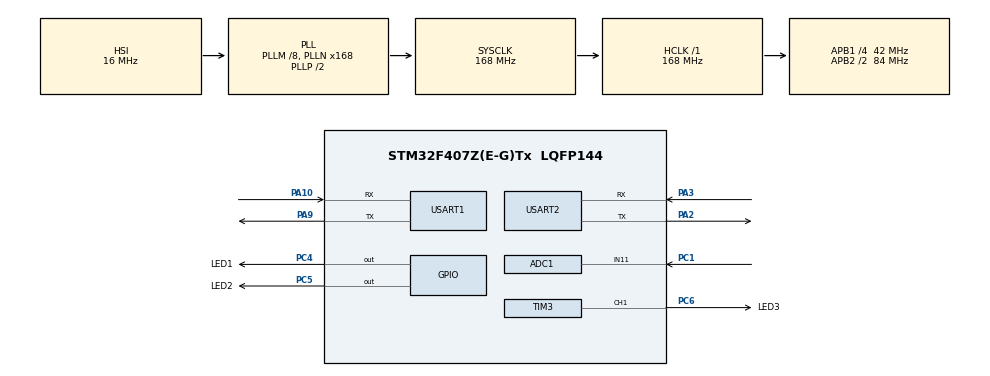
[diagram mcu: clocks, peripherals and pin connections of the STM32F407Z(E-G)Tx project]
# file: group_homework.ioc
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ADC1.Channel-1\#ChannelRegularConversion=ADC_CHANNEL_11
ADC1.NbrOfConversionFlag=1
ADC1.Rank-1\#ChannelRegularConversion=1
ADC1.SamplingTime-1\#ChannelRegularConversion=ADC_SAMPLETIME_3CYCLES
ADC1.ScanConvMode=DISABLE
ADC1.master=1
Dma.ADC1.4.Direction=DMA_PERIPH_TO_MEMORY
Dma.ADC1.4.FIFOMode=DMA_FIFOMODE_DISABLE
Dma.ADC1.4.Instance=DMA2_Stream4
Dma.ADC1.4.MemDataAlignment=DMA_MDATAALIGN_WORD
Dma.ADC1.4.MemInc=DMA_MINC_DISABLE
Dma.ADC1.4.Mode=DMA_NORMAL
Dma.ADC1.4.PeriphDataAlignment=DMA_PDATAALIGN_WORD
Dma.ADC1.4.PeriphInc=DMA_PINC_DISABLE
Dma.ADC1.4.Priority=DMA_PRIORITY_LOW
Dma.Request0=USART1_TX
Dma.Request1=USART1_RX
Dma.Request2=USART2_RX
Dma.Request3=USART2_TX
Dma.Request4=ADC1
Dma.USART1_RX.1.Direction=DMA_PERIPH_TO_MEMORY
Dma.USART1_RX.1.FIFOMode=DMA_FIFOMODE_DISABLE
Dma.USART1_RX.1.Instance=DMA2_Stream2
Dma.USART1_RX.1.MemDataAlignment=DMA_MDATAALIGN_BYTE
Dma.USART1_RX.1.MemInc=DMA_MINC_ENABLE
Dma.USART1_RX.1.Mode=DMA_NORMAL
Dma.USART1_RX.1.PeriphDataAlignment=DMA_PDATAALIGN_BYTE
Dma.USART1_RX.1.PeriphInc=DMA_PINC_DISABLE
Dma.USART1_RX.1.Priority=DMA_PRIORITY_LOW
Dma.USART1_TX.0.Direction=DMA_MEMORY_TO_PERIPH
Dma.USART1_TX.0.FIFOMode=DMA_FIFOMODE_DISABLE
Dma.USART1_TX.0.Instance=DMA2_Stream7
Dma.USART1_TX.0.MemDataAlignment=DMA_MDATAALIGN_BYTE
Dma.USART1_TX.0.MemInc=DMA_MINC_ENABLE
Dma.USART1_TX.0.Mode=DMA_NORMAL
Dma.USART1_TX.0.PeriphDataAlignment=DMA_PDATAALIGN_BYTE
Dma.USART1_TX.0.PeriphInc=DMA_PINC_DISABLE
Dma.USART1_TX.0.Priority=DMA_PRIORITY_LOW
Dma.USART2_RX.2.Direction=DMA_PERIPH_TO_MEMORY
Dma.USART2_RX.2.FIFOMode=DMA_FIFOMODE_DISABLE
Dma.USART2_RX.2.Instance=DMA1_Stream5
Dma.USART2_RX.2.MemDataAlignment=DMA_MDATAALIGN_BYTE
Dma.USART2_RX.2.MemInc=DMA_MINC_ENABLE
Dma.USART2_RX.2.Mode=DMA_NORMAL
Dma.USART2_RX.2.PeriphDataAlignment=DMA_PDATAALIGN_BYTE
Dma.USART2_RX.2.PeriphInc=DMA_PINC_DISABLE
Dma.USART2_RX.2.Priority=DMA_PRIORITY_LOW
Dma.USART2_TX.3.Direction=DMA_MEMORY_TO_PERIPH
Dma.USART2_TX.3.FIFOMode=DMA_FIFOMODE_DISABLE
Dma.USART2_TX.3.Instance=DMA1_Stream6
Dma.USART2_TX.3.MemDataAlignment=DMA_MDATAALIGN_BYTE
Dma.USART2_TX.3.MemInc=DMA_MINC_ENABLE
Dma.USART2_TX.3.Mode=DMA_NORMAL
Dma.USART2_TX.3.PeriphDataAlignment=DMA_PDATAALIGN_BYTE
Dma.USART2_TX.3.PeriphInc=DMA_PINC_DISABLE
Dma.USART2_TX.3.Priority=DMA_PRIORITY_LOW
Mcu.Family=STM32F4
Mcu.Name=STM32F407Z(E-G)Tx
Mcu.Package=LQFP144
NVIC.DMA1_Stream5_IRQn=true\:0\:0\:false\:false\:true\:false\:true\:true
NVIC.DMA1_Stream6_IRQn=true\:0\:0\:false\:false\:true\:false\:true\:true
NVIC.DMA2_Stream2_IRQn=true\:0\:0\:false\:false\:true\:false\:true\:true
NVIC.DMA2_Stream4_IRQn=true\:0\:0\:false\:false\:true\:false\:true\:true
NVIC.DMA2_Stream7_IRQn=true\:0\:0\:false\:false\:true\:false\:true\:true
NVIC.PriorityGroup=NVIC_PRIORITYGROUP_4
NVIC.USART1_IRQn=true\:0\:0\:false\:false\:true\:true\:true\:true
NVIC.USART2_IRQn=true\:0\:0\:false\:false\:true\:true\:true\:true
PA10.Mode=Asynchronous
PA10.Signal=USART1_RX
PA13.Mode=Serial_Wire
PA13.Signal=SYS_JTMS-SWDIO
PA14.Mode=Serial_Wire
PA14.Signal=SYS_JTCK-SWCLK
PA2.Mode=Asynchronous
PA2.Signal=USART2_TX
PA3.Mode=Asynchronous
PA3.Signal=USART2_RX
PA9.Mode=Asynchronous
PA9.Signal=USART1_TX
PC1.Signal=ADCx_IN11
PC4.GPIO_Label=LED1
PC4.Signal=GPIO_Output
PC5.GPIO_Label=LED2
PC5.Signal=GPIO_Output
PC6.GPIO_Label=LED3
PC6.Signal=S_TIM3_CH1
PH0-OSC_IN.Mode=HSE-External-Oscillator
PH0-OSC_IN.Signal=RCC_OSC_IN
PH1-OSC_OUT.Mode=HSE-External-Oscillator
PH1-OSC_OUT.Signal=RCC_OSC_OUT
ProjectManager.HeapSize=0x200
ProjectManager.StackSize=0x400
ProjectManager.TargetToolchain=MDK-ARM V5.32
RCC.48MHZClocksFreq_Value=84000000
RCC.AHBFreq_Value=168000000
RCC.APB1CLKDivider=RCC_HCLK_DIV4
RCC.APB1Freq_Value=42000000
RCC.APB1TimFreq_Value=84000000
RCC.APB2CLKDivider=RCC_HCLK_DIV2
RCC.APB2Freq_Value=84000000
RCC.APB2TimFreq_Value=168000000
RCC.CortexFreq_Value=168000000
RCC.HCLKFreq_Value=168000000
RCC.HSE_VALUE=25000000
RCC.HSI_VALUE=16000000
RCC.LSE_VALUE=32768
RCC.PLLM=8
RCC.PLLN=168
RCC.SYSCLKFreq_VALUE=168000000
RCC.SYSCLKSource=RCC_SYSCLKSOURCE_PLLCLK
RCC.VCOOutputFreq_Value=336000000
SH.ADCx_IN11.0=ADC1_IN11,IN11
SH.S_TIM3_CH1.0=TIM3_CH1,PWM Generation1 CH1
TIM3.AutoReloadPreload=TIM_AUTORELOAD_PRELOAD_ENABLE
TIM3.Channel-PWM\ Generation1\ CH1=TIM_CHANNEL_1
TIM3.Period=100-1
TIM3.Prescaler=84-1
TIM3.Pulse-PWM\ Generation1\ CH1=50
TIM4.AutoReloadPreload=TIM_AUTORELOAD_PRELOAD_ENABLE
TIM4.Period=10000-1
TIM4.Prescaler=8400-1
USART1.VirtualMode=VM_ASYNC
USART2.VirtualMode=VM_ASYNC
VP_TIM3_VS_ClockSourceINT.Mode=Internal
VP_TIM4_VS_ClockSourceINT.Mode=Internal
board=custom

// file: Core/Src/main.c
/* USER CODE BEGIN Header */
/**
  ******************************************************************************
  * @file           : main.c
  * @brief          : Main program body
  ******************************************************************************
  * @attention
  *
  * Copyright (c) 2025 STMicroelectronics.
  * All rights reserved.
  *
  * This software is licensed under terms that can be found in the LICENSE file
  * in the root directory of this software component.
  * If no LICENSE file comes with this software, it is provided AS-IS.
  *
  ******************************************************************************
  */
/* USER CODE END Header */
#include "main.h"

/* USER CODE BEGIN Includes */
#include<stdio.h>
#include<string.h>
#include<stdlib.h>
/* USER CODE END Includes */

ADC_HandleTypeDef hadc1;
DMA_HandleTypeDef hdma_adc1;

TIM_HandleTypeDef htim3;
TIM_HandleTypeDef htim4;

UART_HandleTypeDef huart1;
UART_HandleTypeDef huart2;
DMA_HandleTypeDef hdma_usart1_tx;
DMA_HandleTypeDef hdma_usart1_rx;
DMA_HandleTypeDef hdma_usart2_rx;
DMA_HandleTypeDef hdma_usart2_tx;

/* USER CODE BEGIN PV */
enum spectrum{on,off,blink,breath};
enum spectrum light_mode = off;
char command[25];
float frequency_blink;
float frequency_breath;
double brightness=128.00;
int frequency_adc;
char output_adc[20];
uint32_t values_adc;
/* USER CODE END PV */

void SystemClock_Config(void);
static void MX_GPIO_Init(void);
static void MX_DMA_Init(void);
static void MX_USART1_UART_Init(void);
static void MX_USART2_UART_Init(void);
static void MX_TIM3_Init(void);
static void MX_ADC1_Init(void);
static void MX_TIM4_Init(void);
/* USER CODE BEGIN PFP */
void light_on(double x);
void light_off();
void light_blink(float x);
void light_breath(float x);
/* USER CODE END PFP */

/* USER CODE BEGIN 0 */
void HAL_UARTEx_RxEventCallback(UART_HandleTypeDef *huart, uint16_t Size){
	if(huart==&huart2){
		HAL_UART_Transmit_IT(&huart2,(uint8_t*)command,Size);
		if(strncmp(command,"set_mode",8)==0){
			if(strncmp(command,"set_mode on",11)==0){
			light_mode = on;
			}
			else if(strncmp(command,"set_mode off",12)==0){
			light_mode = off;
			}
			else if(strncmp(command,"set_mode blink",14)==0){
				char fre_bl[4]="aaaa";
				for(int i=0;command[i+15]!='\0';i++){
					fre_bl[i]=command[i+15];
				}
				frequency_blink=atof(fre_bl);
				for(int i=0;i<4;i++){
				fre_bl[i]='a';
				}
				light_mode = blink;
			}
			else if(strncmp(command,"set_mode breathe",16)==0){
				char fre[4]="aaaa";
				for(int i=0;command[i+17]!='\0';i++){
					fre[i]=command[i+17];
				}
				frequency_breath=atof(fre);
				for(int i=0;i<4;i++){
				fre[i]='a';
				}
				light_mode = breath;
			}
		}
		else if(strncmp(command,"set_brightness",14)==0){
			char bri[5]="aaaaa";
				for(int i=0;command[i+15]!='\0';i++){
					bri[i]=command[i+15];
				}
				brightness=atof(bri);
				for(int i=0;i<5;i++){
				bri[i]='a';
				}
		}
		HAL_UARTEx_ReceiveToIdle_IT(&huart2,(uint8_t*)command,sizeof(command));
	}
}

void HAL_TIM_PeriodElapsedCallback(TIM_HandleTypeDef *htim){
	if(htim==&htim4){
		sprintf(output_adc,	"Frequency: %d",frequency_adc);
		HAL_UART_Transmit_IT(&huart1,(uint8_t*)output_adc,strlen(output_adc));
		frequency_adc=0;
	}
}
void HAL_ADC_ConvCpltCallback(ADC_HandleTypeDef *hadc){
	if(hadc==&hadc1){
		if (values_adc>2048)
				frequency_adc++;
	}
}
/* USER CODE END 0 */

int main(void)
{

  /* MCU Configuration--------------------------------------------------------*/

  /* Reset of all peripherals, Initializes the Flash interface and the Systick. */
  HAL_Init();

  /* Configure the system clock */
  SystemClock_Config();

  /* Initialize all configured peripherals */
  MX_GPIO_Init();
  MX_DMA_Init();
  MX_USART1_UART_Init();
  MX_USART2_UART_Init();
  MX_TIM3_Init();
  MX_ADC1_Init();
  MX_TIM4_Init();
  /* USER CODE BEGIN 2 */
	HAL_TIM_PWM_Start(&htim3,TIM_CHANNEL_1);
	HAL_UARTEx_ReceiveToIdle_IT(&huart2,(uint8_t*)command,sizeof(command));
	__HAL_DMA_DISABLE_IT(&hdma_usart2_rx,DMA_IT_HT);
	HAL_TIM_Base_Start_IT(&htim4);
	//HAL_ADCEx_Calibration_Start(&hadc1);

  /* USER CODE END 2 */

  /* Infinite loop */
  /* USER CODE BEGIN WHILE */
  while (1)
  {
		HAL_ADC_Start_DMA(&hadc1,&values_adc,sizeof(values_adc)/sizeof(uint32_t));
		switch(light_mode){
			case on:
				light_on(brightness);
				break;
			case off:
				light_off();
				break;
			case blink:
				light_blink(frequency_blink);
				break;
			case breath:
				light_breath(frequency_breath);
				break;
		}
    /* USER CODE END WHILE */

  }
}

void SystemClock_Config(void)
{
  RCC_OscInitTypeDef RCC_OscInitStruct = {0};
  RCC_ClkInitTypeDef RCC_ClkInitStruct = {0};

  /** Configure the main internal regulator output voltage
  */
  __HAL_RCC_PWR_CLK_ENABLE();
  __HAL_PWR_VOLTAGESCALING_CONFIG(PWR_REGULATOR_VOLTAGE_SCALE1);

  /** Initializes the RCC Oscillators according to the specified parameters
  * in the RCC_OscInitTypeDef structure.
  */
  RCC_OscInitStruct.OscillatorType = RCC_OSCILLATORTYPE_HSI;
  RCC_OscInitStruct.HSIState = RCC_HSI_ON;
  RCC_OscInitStruct.HSICalibrationValue = RCC_HSICALIBRATION_DEFAULT;
  RCC_OscInitStruct.PLL.PLLState = RCC_PLL_ON;
  RCC_OscInitStruct.PLL.PLLSource = RCC_PLLSOURCE_HSI;
  RCC_OscInitStruct.PLL.PLLM = 8;
  RCC_OscInitStruct.PLL.PLLN = 168;
  RCC_OscInitStruct.PLL.PLLP = RCC_PLLP_DIV2;
  RCC_OscInitStruct.PLL.PLLQ = 4;
  if (HAL_RCC_OscConfig(&RCC_OscInitStruct) != HAL_OK)
  {
    Error_Handler();
  }

  /** Initializes the CPU, AHB and APB buses clocks
  */
  RCC_ClkInitStruct.ClockType = RCC_CLOCKTYPE_HCLK|RCC_CLOCKTYPE_SYSCLK
                              |RCC_CLOCKTYPE_PCLK1|RCC_CLOCKTYPE_PCLK2;
  RCC_ClkInitStruct.SYSCLKSource = RCC_SYSCLKSOURCE_PLLCLK;
  RCC_ClkInitStruct.AHBCLKDivider = RCC_SYSCLK_DIV1;
  RCC_ClkInitStruct.APB1CLKDivider = RCC_HCLK_DIV4;
  RCC_ClkInitStruct.APB2CLKDivider = RCC_HCLK_DIV2;

  if (HAL_RCC_ClockConfig(&RCC_ClkInitStruct, FLASH_LATENCY_5) != HAL_OK)
  {
    Error_Handler();
  }
}

static void MX_ADC1_Init(void)
{

  ADC_ChannelConfTypeDef sConfig = {0};

  /** Configure the global features of the ADC (Clock, Resolution, Data Alignment and number of conversion)
  */
  hadc1.Instance = ADC1;
  hadc1.Init.ClockPrescaler = ADC_CLOCK_SYNC_PCLK_DIV4;
  hadc1.Init.Resolution = ADC_RESOLUTION_12B;
  hadc1.Init.ScanConvMode = DISABLE;
  hadc1.Init.ContinuousConvMode = DISABLE;
  hadc1.Init.DiscontinuousConvMode = DISABLE;
  hadc1.Init.ExternalTrigConvEdge = ADC_EXTERNALTRIGCONVEDGE_NONE;
  hadc1.Init.ExternalTrigConv = ADC_SOFTWARE_START;
  hadc1.Init.DataAlign = ADC_DATAALIGN_RIGHT;
  hadc1.Init.NbrOfConversion = 1;
  hadc1.Init.DMAContinuousRequests = DISABLE;
  hadc1.Init.EOCSelection = ADC_EOC_SINGLE_CONV;
  if (HAL_ADC_Init(&hadc1) != HAL_OK)
  {
    Error_Handler();
  }

  /** Configure for the selected ADC regular channel its corresponding rank in the sequencer and its sample time.
  */
  sConfig.Channel = ADC_CHANNEL_11;
  sConfig.Rank = 1;
  sConfig.SamplingTime = ADC_SAMPLETIME_3CYCLES;
  if (HAL_ADC_ConfigChannel(&hadc1, &sConfig) != HAL_OK)
  {
    Error_Handler();
  }

}

static void MX_TIM3_Init(void)
{

  TIM_ClockConfigTypeDef sClockSourceConfig = {0};
  TIM_MasterConfigTypeDef sMasterConfig = {0};
  TIM_OC_InitTypeDef sConfigOC = {0};

  htim3.Instance = TIM3;
  htim3.Init.Prescaler = 84-1;
  htim3.Init.CounterMode = TIM_COUNTERMODE_UP;
  htim3.Init.Period = 100-1;
  htim3.Init.ClockDivision = TIM_CLOCKDIVISION_DIV1;
  htim3.Init.AutoReloadPreload = TIM_AUTORELOAD_PRELOAD_ENABLE;
  if (HAL_TIM_Base_Init(&htim3) != HAL_OK)
  {
    Error_Handler();
  }
  sClockSourceConfig.ClockSource = TIM_CLOCKSOURCE_INTERNAL;
  if (HAL_TIM_ConfigClockSource(&htim3, &sClockSourceConfig) != HAL_OK)
  {
    Error_Handler();
  }
  if (HAL_TIM_PWM_Init(&htim3) != HAL_OK)
  {
    Error_Handler();
  }
  sMasterConfig.MasterOutputTrigger = TIM_TRGO_RESET;
  sMasterConfig.MasterSlaveMode = TIM_MASTERSLAVEMODE_DISABLE;
  if (HAL_TIMEx_MasterConfigSynchronization(&htim3, &sMasterConfig) != HAL_OK)
  {
    Error_Handler();
  }
  sConfigOC.OCMode = TIM_OCMODE_PWM1;
  sConfigOC.Pulse = 50;
  sConfigOC.OCPolarity = TIM_OCPOLARITY_HIGH;
  sConfigOC.OCFastMode = TIM_OCFAST_DISABLE;
  if (HAL_TIM_PWM_ConfigChannel(&htim3, &sConfigOC, TIM_CHANNEL_1) != HAL_OK)
  {
    Error_Handler();
  }
  HAL_TIM_MspPostInit(&htim3);

}

static void MX_TIM4_Init(void)
{

  TIM_ClockConfigTypeDef sClockSourceConfig = {0};
  TIM_MasterConfigTypeDef sMasterConfig = {0};

  htim4.Instance = TIM4;
  htim4.Init.Prescaler = 8400-1;
  htim4.Init.CounterMode = TIM_COUNTERMODE_UP;
  htim4.Init.Period = 10000-1;
  htim4.Init.ClockDivision = TIM_CLOCKDIVISION_DIV1;
  htim4.Init.AutoReloadPreload = TIM_AUTORELOAD_PRELOAD_ENABLE;
  if (HAL_TIM_Base_Init(&htim4) != HAL_OK)
  {
    Error_Handler();
  }
  sClockSourceConfig.ClockSource = TIM_CLOCKSOURCE_INTERNAL;
  if (HAL_TIM_ConfigClockSource(&htim4, &sClockSourceConfig) != HAL_OK)
  {
    Error_Handler();
  }
  sMasterConfig.MasterOutputTrigger = TIM_TRGO_RESET;
  sMasterConfig.MasterSlaveMode = TIM_MASTERSLAVEMODE_DISABLE;
  if (HAL_TIMEx_MasterConfigSynchronization(&htim4, &sMasterConfig) != HAL_OK)
  {
    Error_Handler();
  }

}

static void MX_USART1_UART_Init(void)
{

  huart1.Instance = USART1;
  huart1.Init.BaudRate = 115200;
  huart1.Init.WordLength = UART_WORDLENGTH_8B;
  huart1.Init.StopBits = UART_STOPBITS_1;
  huart1.Init.Parity = UART_PARITY_NONE;
  huart1.Init.Mode = UART_MODE_TX_RX;
  huart1.Init.HwFlowCtl = UART_HWCONTROL_NONE;
  huart1.Init.OverSampling = UART_OVERSAMPLING_16;
  if (HAL_UART_Init(&huart1) != HAL_OK)
  {
    Error_Handler();
  }

}

static void MX_USART2_UART_Init(void)
{

  huart2.Instance = USART2;
  huart2.Init.BaudRate = 115200;
  huart2.Init.WordLength = UART_WORDLENGTH_8B;
  huart2.Init.StopBits = UART_STOPBITS_1;
  huart2.Init.Parity = UART_PARITY_NONE;
  huart2.Init.Mode = UART_MODE_TX_RX;
  huart2.Init.HwFlowCtl = UART_HWCONTROL_NONE;
  huart2.Init.OverSampling = UART_OVERSAMPLING_16;
  if (HAL_UART_Init(&huart2) != HAL_OK)
  {
    Error_Handler();
  }

}

static void MX_DMA_Init(void)
{

  /* DMA controller clock enable */
  __HAL_RCC_DMA2_CLK_ENABLE();
  __HAL_RCC_DMA1_CLK_ENABLE();

  /* DMA interrupt init */
  /* DMA1_Stream5_IRQn interrupt configuration */
  HAL_NVIC_SetPriority(DMA1_Stream5_IRQn, 0, 0);
  HAL_NVIC_EnableIRQ(DMA1_Stream5_IRQn);
  /* DMA1_Stream6_IRQn interrupt configuration */
  HAL_NVIC_SetPriority(DMA1_Stream6_IRQn, 0, 0);
  HAL_NVIC_EnableIRQ(DMA1_Stream6_IRQn);
  /* DMA2_Stream2_IRQn interrupt configuration */
  HAL_NVIC_SetPriority(DMA2_Stream2_IRQn, 0, 0);
  HAL_NVIC_EnableIRQ(DMA2_Stream2_IRQn);
  /* DMA2_Stream4_IRQn interrupt configuration */
  HAL_NVIC_SetPriority(DMA2_Stream4_IRQn, 0, 0);
  HAL_NVIC_EnableIRQ(DMA2_Stream4_IRQn);
  /* DMA2_Stream7_IRQn interrupt configuration */
  HAL_NVIC_SetPriority(DMA2_Stream7_IRQn, 0, 0);
  HAL_NVIC_EnableIRQ(DMA2_Stream7_IRQn);

}

static void MX_GPIO_Init(void)
{
  GPIO_InitTypeDef GPIO_InitStruct = {0};

  /* GPIO Ports Clock Enable */
  __HAL_RCC_GPIOH_CLK_ENABLE();
  __HAL_RCC_GPIOC_CLK_ENABLE();
  __HAL_RCC_GPIOA_CLK_ENABLE();

  /*Configure GPIO pin Output Level */
  HAL_GPIO_WritePin(GPIOC, LED1_Pin|LED2_Pin, GPIO_PIN_RESET);

  /*Configure GPIO pins : LED1_Pin LED2_Pin */
  GPIO_InitStruct.Pin = LED1_Pin|LED2_Pin;
  GPIO_InitStruct.Mode = GPIO_MODE_OUTPUT_PP;
  GPIO_InitStruct.Pull = GPIO_NOPULL;
  GPIO_InitStruct.Speed = GPIO_SPEED_FREQ_LOW;
  HAL_GPIO_Init(GPIOC, &GPIO_InitStruct);

}

/* USER CODE BEGIN 4 */
void light_on(double x){
	__HAL_TIM_SET_COMPARE(&htim3,TIM_CHANNEL_1,(int)((100*x)/256));
}

void light_off(){
	__HAL_TIM_SET_COMPARE(&htim3,TIM_CHANNEL_1,0);
}

void light_blink(float x){
	while(1){
					__HAL_TIM_SET_COMPARE(&htim3,TIM_CHANNEL_1,99);
					HAL_Delay(500/x-1);
					__HAL_TIM_SET_COMPARE(&htim3,TIM_CHANNEL_1,0);
					HAL_Delay(500/x-1);
		if(light_mode!=blink||x!=frequency_blink) break;
	}
}
void light_breath(float x){
	while(1){
		for(int i=0;i<100;i++){
			__HAL_TIM_SET_COMPARE(&htim3,TIM_CHANNEL_1,i);
			HAL_Delay(5/(2*x)-1);
			}
		for(int i=99;i>=0;i--){
			__HAL_TIM_SET_COMPARE(&htim3,TIM_CHANNEL_1,i);
			HAL_Delay(5/(2*x)-1);
			}
		if(light_mode!=breath||x!=frequency_breath) {
			__HAL_TIM_SET_COMPARE(&htim3,TIM_CHANNEL_1,50);
			break;
		}
	}
}
/* USER CODE END 4 */

void Error_Handler(void)
{
  __disable_irq();
  while (1)
  {
  }
}
